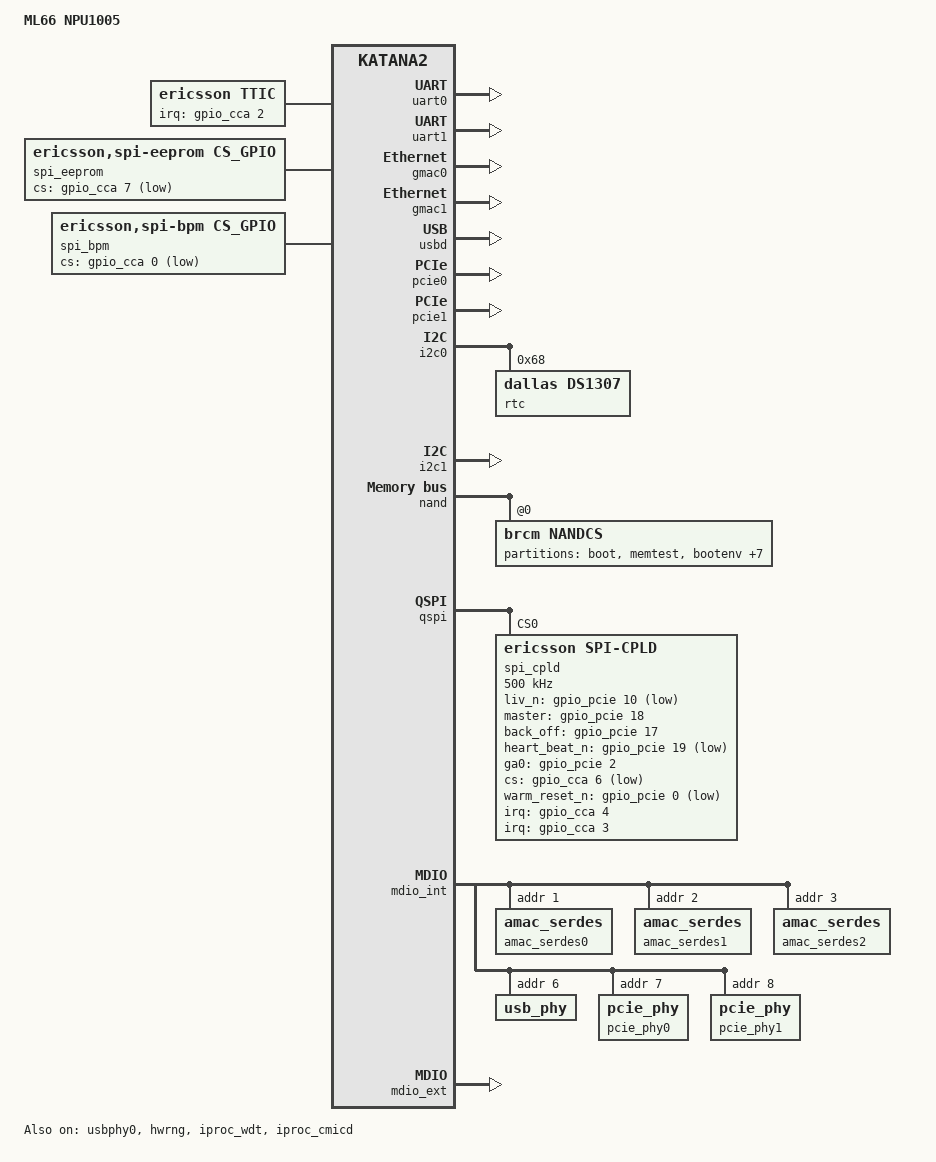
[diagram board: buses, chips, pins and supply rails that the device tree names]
/*
 *  BSD LICENSE
 *
 *  Copyright(c) 2016 Broadcom Corporation.  All rights reserved.
 *
 *  Redistribution and use in source and binary forms, with or without
 *  modification, are permitted provided that the following conditions
 *  are met:
 *
 *    * Redistributions of source code must retain the above copyright
 *      notice, this list of conditions and the following disclaimer.
 *    * Redistributions in binary form must reproduce the above copyright
 *      notice, this list of conditions and the following disclaimer in
 *      the documentation and/or other materials provided with the
 *      distribution.
 *    * Neither the name of Broadcom Corporation nor the names of its
 *      contributors may be used to endorse or promote products derived
 *      from this software without specific prior written permission.
 *
 *  THIS SOFTWARE IS PROVIDED BY THE COPYRIGHT HOLDERS AND CONTRIBUTORS
 *  "AS IS" AND ANY EXPRESS OR IMPLIED WARRANTIES, INCLUDING, BUT NOT
 *  LIMITED TO, THE IMPLIED WARRANTIES OF MERCHANTABILITY AND FITNESS FOR
 *  A PARTICULAR PURPOSE ARE DISCLAIMED. IN NO EVENT SHALL THE COPYRIGHT
 *  OWNER OR CONTRIBUTORS BE LIABLE FOR ANY DIRECT, INDIRECT, INCIDENTAL,
 *  SPECIAL, EXEMPLARY, OR CONSEQUENTIAL DAMAGES (INCLUDING, BUT NOT
 *  LIMITED TO, PROCUREMENT OF SUBSTITUTE GOODS OR SERVICES; LOSS OF USE,
 *  DATA, OR PROFITS; OR BUSINESS INTERRUPTION) HOWEVER CAUSED AND ON ANY
 *  THEORY OF LIABILITY, WHETHER IN CONTRACT, STRICT LIABILITY, OR TORT
 *  (INCLUDING NEGLIGENCE OR OTHERWISE) ARISING IN ANY WAY OUT OF THE USE
 *  OF THIS SOFTWARE, EVEN IF ADVISED OF THE POSSIBILITY OF SUCH DAMAGE.
 */

/dts-v1/;

#include "bcm-katana2.dtsi"

/ {
	model = "ML66 NPU1005";
	compatible = "ericsson,npu1005", "brcm,katana2";

	aliases {
		serial0 = &uart0;
		serial1 = &uart1;
		ethernet0 = &gmac0;
		ethernet1 = &gmac1;
		sdk-serdes-lane2 = &amac_serdes2;
	};

	chosen {
		bootargs = "console=ttyS1,115200n8 maxcpus=2 ubi.mtd=1 root=ubi0:rootfs rootflags=bulk_read rootfstype=ubifs user_debug=31 earlyprintk";
	};

	ttic {
		compatible = "ericsson,ttic";
		interrupts = <2 IRQ_TYPE_EDGE_FALLING>; /* TTICK_IN_K2 */
		interrupt-parent =<&gpio_cca>;
	};

	rmm {
		compatible = "ericsson,rmm";
	};

	pex {
		compatible = "ericsson,pcie";
	};

	spi_eeprom {
		compatible = "ericsson,spi-eeprom,cs_gpio";
		spi-cpol;
		cs = <&gpio_cca 7 GPIO_ACTIVE_LOW>; /* PROM_CS_K2_N */
	};

	spi_bpm {
		compatible = "ericsson,spi-bpm,cs_gpio";
		spi-cpol;
		cs = <&gpio_cca 0 GPIO_ACTIVE_LOW>; /* DCDC_SPI_CS_K2_N */
	};

	gpio_pcie: gpio_pcie {
		compatible = "ericsson,gpio_pcie";
		#gpio-cells = <2>;
		gpio-controller;
		#interrupt-cells = <2>;
		interrupt-controller;
	};
};

&uart0 {
	status = "okay";
};

&uart1 {
	status = "okay";
	clock-frequency = <123750000>;
};

&gmac0 {
	status = "okay";
	serdes-handle = <&amac_serdes0>;
};

&gmac1 {
	status = "okay";
	serdes-handle = <&amac_serdes1>;
};

&usbphy0 {
	status = "okay";
	mdio-phy-handle = <&usb_phy>;
};

&ehci0 {
	status = "disabled";
};

&usbd {
	status = "okay";
};

&gpio_cca {
	status = "okay";
};

&pcie0 {
	status = "okay";
	mdio-phy-handle = <&pcie_phy0>;
	linux,pci-domain = <1>;
};

&pcie1 {
	status = "okay";
	mdio-phy-handle = <&pcie_phy1>;
	linux,pci-domain = <0>;
};

&i2c0 {
	status = "okay";
	rtc@068 {
		compatible = "dallas,ds1307";
		reg = <0x68>;
	};
};

&i2c1 {
	status = "okay";
};

&nand {
	status = "okay";
	nandcs@1 {
		compatible = "brcm,nandcs";
		reg = <0>;
		nand-on-flash-bbt;
		/*nand-bus-width = <8>;*/
		nand-ecc-strength = <12>;
		nand-ecc-step-size = <512>;
		brcm,nand-oob-sector-size = <27>;
		#address-cells = <1>;
		#size-cells = <1>;

		partition@0 {
			label = "boot";
			reg = <0x0 0x100000>;
		};
		partition@1 {
			label = "memtest";
			reg = <0x100000 0x100000>;
		};
		partition@2 {
			label = "bootenv";
			reg = <0x200000 0x200000>;
		};
		partition@3 {
			label = "iproc_ram_tuning";
			reg = <0x400000 0x100000>;
		};
		partition@4 {
			label = "nandtest";
			reg = <0x500000 0x100000>;
		};
		partition@5 {
			label = "pbist";
			reg = <0x600000 0x3A00000>;
		};
		partition@6 {
			label = "lm0";
			reg = <0x04000000 0x10000000>;
		};
		partition@7 {
			label = "lm1";
			reg = <0x14000000 0x10000000>;
		};
		partition@8 {
			label = "util";
			reg = <0x24000000 0x58000000>;
		};
		partition@9 {
			label = "crash";
			reg = <0x7c000000 0x4000000>;
		};

		partitions {
			compatible = "ml66,npu-partitions";
		};
	};
};

&qspi {
	status = "okay";
	spi_cpld@0 {
		reg = <0>;
		compatible = "ericsson,spi-cpld";
		spi-cpol;
		spi-max-frequency = <500000>;
		interrupts-extended = <&gpio_cca 4 IRQ_TYPE_EDGE_FALLING>,	/* SPI_UP_IRQ_N */
		                      <&gpio_cca 3 IRQ_TYPE_EDGE_FALLING>,	/* LVD_EVENT_N */
		                      <&gpio_pcie 10 IRQ_TYPE_EDGE_FALLING>,	/* LIV_DISTURBANCE, goes to PCIe switch GPIO */
		                      <&gpio_pcie 18 IRQ_TYPE_EDGE_RISING>,	/* MASTER  0x1 = low-to-high edge triggered */
		                      <&gpio_pcie 0  IRQ_TYPE_EDGE_FALLING>;	/* WARM_RESET_N */
		liv_n-gpios         = <&gpio_pcie 10 GPIO_ACTIVE_LOW>;
		master-gpios        = <&gpio_pcie 18 GPIO_ACTIVE_HIGH>;
		back_off-gpios      = <&gpio_pcie 17 GPIO_ACTIVE_HIGH>;
		heart_beat_n-gpios  = <&gpio_pcie 19 GPIO_ACTIVE_LOW>;
		ga0-gpios           = <&gpio_pcie  2 GPIO_ACTIVE_HIGH>;
		cs                  = <&gpio_cca 6 GPIO_ACTIVE_LOW>;
		warm_reset_n-gpios  = <&gpio_pcie 0 GPIO_ACTIVE_LOW>;
	};
};

&mdio_int {
	status = "okay";
	/* 3 AMAC serdes, amac_serdes2 is for switch front port */
	amac_serdes0: amac_serdes@0 {
		reg = <1>;
	};
	amac_serdes1: amac_serdes@1 {
		reg = <2>;
	};
	amac_serdes2: amac_serdes@2 {
		reg = <3>;
	};
	usb_phy: usb_phy@0 {
		reg = <6>;
	};
	pcie_phy0: pcie_phy@0 {
		reg = <7>;
	};
	pcie_phy1: pcie_phy@1 {
		reg = <8>;
	};
};

&mdio_ext {
	status = "okay";
};

&hwrng {
	status = "okay";
};

&iproc_wdt {
	status = "okay";
};

&dmac0 {
	status = "okay";
};

&iproc_cmicd {
	status = "okay";
};
